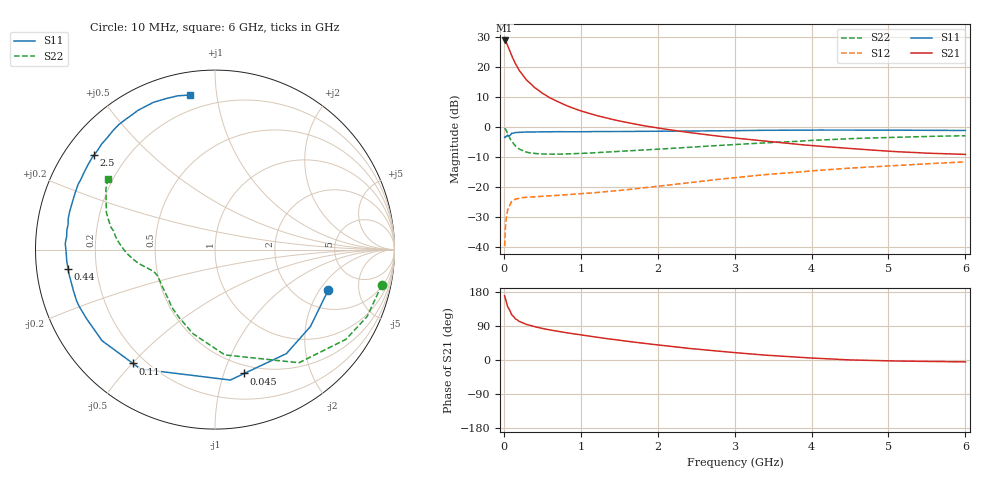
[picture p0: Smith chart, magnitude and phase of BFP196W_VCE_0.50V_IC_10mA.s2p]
! Infineon Technologies  Discrete & RF Semiconductors
! BFP196W
! VCE = 0.50V,  IC =  10mA
! Common Emitter S-Parameters:  Jan 2016
# GHz  S  MA  R  50
!  f  S11  S21  S12  S22
! GHz  MAG  ANG  MAG  ANG  MAG  ANG  MAG  ANG
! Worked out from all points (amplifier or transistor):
!   210 points, 10 MHz to 6 GHz, reference 50 ohm
!   highest |S21| = 28.8 dB at 10 MHz (marker M1)
!   |S21| within 3 dB of that: start of sweep to 69.95 MHz
!   unconditionally stable (mu >= 1): 1.091 GHz to 4.499 GHz; 4.5 GHz to end of sweep
!   at 185 MHz: K = 0.22, MSG = 21.7 dB, |S12| = -23.8 dB
!   at 1.52 GHz: K = 1.20, MAG = 8.8 dB, |S12| = -21.1 dB
!   at 6 GHz: K = 1.10, MAG = -0.6 dB, |S12| = -11.6 dB
!   S11 on the Smith chart (normalised r, x): 10 MHz: 2.95, -2.41; 45 MHz: 0.42, -1.17; 110 MHz: 0.15, -0.50; 440 MHz: 0.10, -0.06; 2.5 GHz: 0.09, +0.34; 6 GHz: 0.12, +0.84
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0.01  0.67 -19.6  27.39 169.6  0.0104 79.0  0.95 -11.9
0.02  0.683 -38.9  27.11 162.2  0.0206 73.2  0.9261 -23.7
0.03  0.7029 -55.5  25.83 154.3  0.0292 65.5  0.8845 -34.4
0.045  0.709 -76.7  23.19 144.2  0.0387 55.1  0.8012 -48.2
0.05  0.7317 -83.3  22.49 140.4  0.042 52.7  0.7852 -53.4
0.1  0.7841 -121.9  15.41 119.9  0.0572 35.1  0.5892 -84.7
0.11  0.7818 -125.8  14.54 118.1  0.0583 33.3  0.5636 -88.0
0.15  0.8085 -141.1  11.26 108.5  0.063 26.6  0.4849 -104.5
0.2  0.8126 -151.7  8.685 101.9  0.0651 22.7  0.4291 -117.6
0.24  0.8201 -157.2  7.42 98.2  0.0666 20.8  0.4066 -124.8
0.3  0.8214 -163.5  5.934 93.5  0.0675 19.3  0.3783 -133.6
0.44  0.8256 -172.5  4.159 86.1  0.0695 18.9  0.3587 -144.9
0.6  0.829 -178.9  3.041 79.2  0.0715 19.9  0.3524 -152.4
0.7  0.8351 177.7  2.632 75.7  0.0728 21.2  0.3515 -155.1
1.02  0.8312 169.9  1.815 65.6  0.0776 25.8  0.3634 -160.3
1.48  0.8382 160.5  1.274 52.7  0.0872 32.2  0.3895 -164.5
2.02  0.8459 150.5  0.951 39.4  0.1038 37.5  0.4268 -169.2
2.5  0.8547 142.1  0.78 28.9  0.1216 39.7  0.4658 -174.3
3.1  0.8689 132.3  0.635 17.9  0.1476 39.3  0.518 178.5
4.1  0.8864 117.6  0.479 4.3  0.1899 34.8  0.6048 166.1
5.1  0.8832 106.7  0.388 -2.7  0.2283 28.1  0.6729 154.4
6  0.8725 99.2  0.349 -5.0  0.2623 22.2  0.7136 146.8
